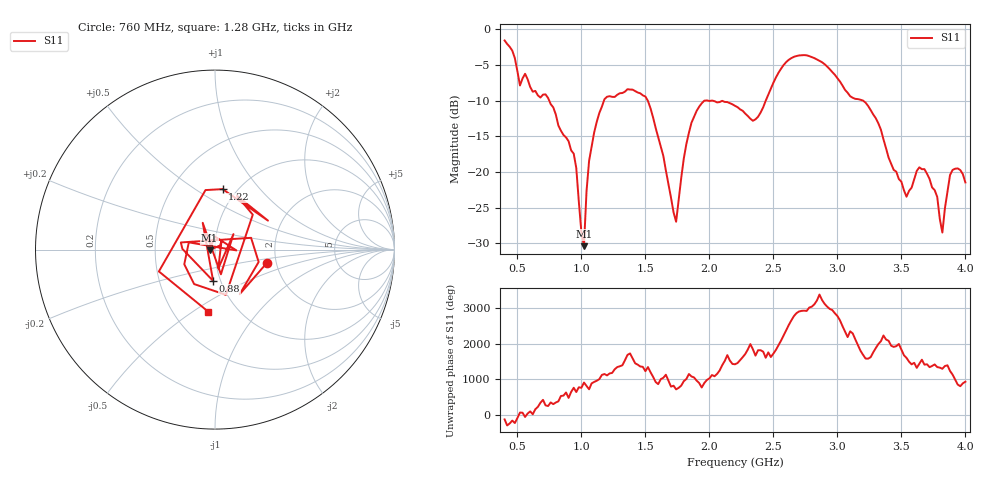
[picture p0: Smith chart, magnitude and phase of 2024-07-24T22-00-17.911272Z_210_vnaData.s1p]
!Created with skrf (http://scikit-rf.org).
# Hz S RI R 50.0
!freq ReS11 ImS11
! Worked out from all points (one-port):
!   181 points, 400 MHz to 4 GHz, reference 50 ohm
!   lowest |S11| = -30.4 dB at 1.02 GHz (marker M1), VSWR 1.06, Z = 47.1 - j0.349 ohm
!   |S11| at or under -10 dB: 748.4 MHz to 1.176 GHz (427.9 MHz wide, 44.5 % of centre); 1.518 GHz to 1.966 GHz (448 MHz wide, 25.7 % of centre); 3.2 GHz to end of sweep (the widest 3 of 5)
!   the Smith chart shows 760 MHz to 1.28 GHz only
!   S11 on the Smith chart (normalised r, x): 760 MHz: 1.79, -0.29; 880 MHz: 0.92, -0.33; 1.22 GHz: 0.86, +0.65; 1.28 GHz: 0.73, -0.58
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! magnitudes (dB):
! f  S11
! 400 MHz  -1.6
! 520 MHz  -7.9
! 760 MHz  -10.5
! 860 MHz  -14.8
! 880 MHz  -15.2
! 960 MHz  -19.5
! 1.02 GHz  -30.4
! 1.06 GHz  -18.4
! 1.14 GHz  -11.7
! 1.22 GHz  -9.4
! 1.28 GHz  -9.2
! 1.3 GHz  -9.0
! 1.52 GHz  -10.1
! 1.74 GHz  -27.0
! 1.76 GHz  -23.9
! 1.82 GHz  -16.1
! 1.9 GHz  -11.5
! 2.2 GHz  -10.7
! 2.36 GHz  -12.6
! 2.66 GHz  -3.9
! 3.1 GHz  -9.4
! 3.3 GHz  -12.5
! 3.56 GHz  -22.6
! 3.68 GHz  -19.6
! 3.78 GHz  -23.5
! 3.82 GHz  -28.5
! 3.88 GHz  -20.4
! 4 GHz  -21.5
